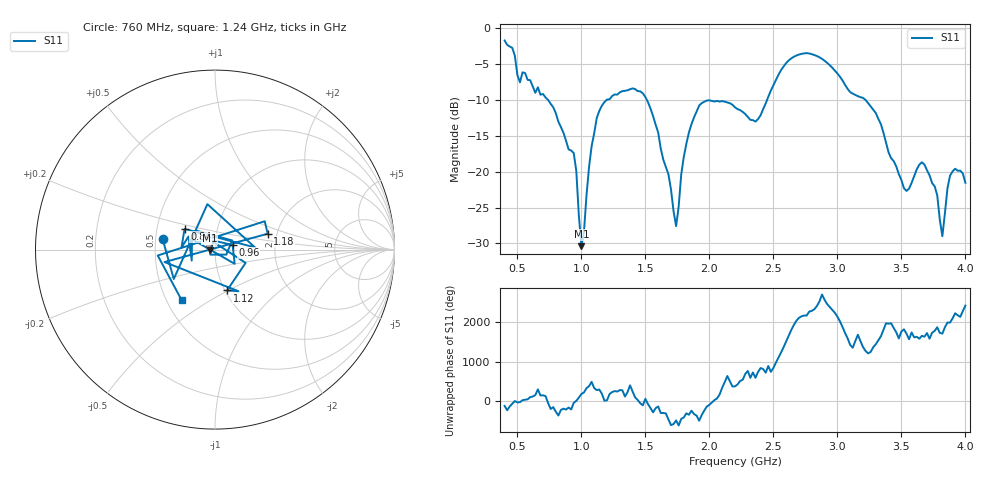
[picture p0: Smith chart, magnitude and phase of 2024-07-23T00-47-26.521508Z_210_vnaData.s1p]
!Created with skrf (http://scikit-rf.org).
# Hz S RI R 50.0
!freq ReS11 ImS11
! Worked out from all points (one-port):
!   181 points, 400 MHz to 4 GHz, reference 50 ohm
!   lowest |S11| = -30.4 dB at 1 GHz (marker M1), VSWR 1.06, Z = 47.1 - j0.404 ohm
!   |S11| at or under -10 dB: 740.9 MHz to 1.196 GHz (454.8 MHz wide, 47 % of centre); 1.512 GHz to 2.45 GHz (937.9 MHz wide, 47.3 % of centre); 3.221 GHz to end of sweep
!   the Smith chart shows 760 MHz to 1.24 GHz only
!   S11 on the Smith chart (normalised r, x): 760 MHz: 0.54, +0.07; 840 MHz: 0.69, +0.17; 960 MHz: 1.22, +0.06; 1.12 GHz: 1.02, -0.49; 1.18 GHz: 1.79, +0.35; 1.24 GHz: 0.60, -0.38
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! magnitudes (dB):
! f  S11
! 400 MHz  -1.7
! 520 MHz  -7.5
! 760 MHz  -10.5
! 840 MHz  -13.8
! 860 MHz  -14.6
! 960 MHz  -19.9
! 1 GHz  -30.4
! 1.12 GHz  -12.5
! 1.18 GHz  -10.3
! 1.24 GHz  -9.4
! 1.3 GHz  -8.9
! 1.5 GHz  -9.6
! 1.68 GHz  -20.4
! 1.74 GHz  -27.6
! 1.76 GHz  -24.8
! 1.82 GHz  -16.1
! 1.92 GHz  -10.8
! 2.2 GHz  -11.0
! 2.36 GHz  -13.0
! 2.66 GHz  -3.9
! 3.1 GHz  -8.9
! 3.3 GHz  -11.8
! 3.56 GHz  -22.3
! 3.68 GHz  -19.0
! 3.78 GHz  -23.3
! 3.82 GHz  -29.0
! 3.88 GHz  -20.5
! 4 GHz  -21.5
